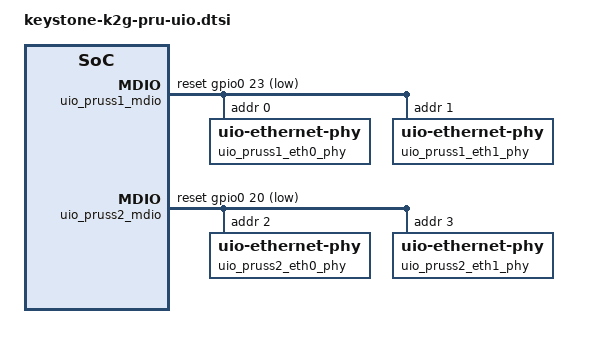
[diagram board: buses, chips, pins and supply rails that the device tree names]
&pruss_soc_bus0 {
		uio_pruss1_mdio: uio_mdio@20ab2400 {
			compatible = "ti,davinci_mdio";
			reg = <0x20ab2400 0x90>;
			clocks = <&k2g_clks 0x0014 1>;
			clock-names = "fck";
			#address-cells = <1>;
			#size-cells = <0>;
			bus_freq = <2500000>;
			status = "disabled";
		};

		uio_pruss1_mem: uio_pruss1_mem {
			compatible = "ti,uio-module-drv";
			mem = <0x20a80000 0x2000>,
			      <0x20a82000 0x2000>,
			      <0x20a90000 0x10000>,
			      <0x20aa0000 0x2000>,
			      <0x20aa6000 0x2000>,
			      <0x20aae000 0x31c>,
			      <0x20ab2000 0x70>;
			mem-names = "dram0", "dram1", "shrdram2", "intc", "cfg",
				    "iep", "mii_rt";
			status = "okay";
		};
		uio_pruss1_mem2: uio_pruss1_mem2 {
			compatible = "ti,uio-module-drv";
			mem = <0x20aa8000 0x38>,
			      <0x20ab0000 0x60>,
			      <0x20ab2400 0x90>,
			      <0x0c080000 0xe000>;
			mem-names = "uart", "ecap", "mdio", "ocmc";
			status = "okay";
		};
		uio_pruss1_evt0: uio_pruss1_evt0 {
			compatible = "ti,uio-module-drv";
			interrupts = <GIC_SPI 224 0xf01>;
			interrupt-mode = <0>;
			status = "okay";
		};
		uio_pruss1_evt1: uio_pruss1_evt1 {
			compatible = "ti,uio-module-drv";
			interrupts = <GIC_SPI 225 0xf01>;
			interrupt-mode = <0>;
			status = "okay";
		};
		uio_pruss1_evt2: uio_pruss1_evt2 {
			compatible = "ti,uio-module-drv";
			interrupts = <GIC_SPI 226 0xf01>;
			interrupt-mode = <0>;
			status = "okay";
		};
		uio_pruss1_evt3: uio_pruss1_evt3 {
			compatible = "ti,uio-module-drv";
			interrupts = <GIC_SPI 227 0xf01>;
			interrupt-mode = <0>;
			status = "okay";
		};
		uio_pruss1_evt4: uio_pruss1_evt4 {
			compatible = "ti,uio-module-drv";
			interrupts = <GIC_SPI 228 0xf01>;
			interrupt-mode = <0>;
			status = "okay";
		};
		uio_pruss1_evt6: uio_pruss1_evt6 {
			compatible = "ti,uio-module-drv";
			interrupts = <GIC_SPI 230 0xf01>;
			interrupt-mode = <0>;
			status = "okay";
		};
		uio_pruss1_evt7: uio_pruss1_evt7 {
			compatible = "ti,uio-module-drv";
			interrupts = <GIC_SPI 231 0xf01>;
			interrupt-mode = <0>;
			status = "okay";
		};

		uio_pruss1_0_mem: uio_pruss1_0_mem {
			compatible = "ti,uio-module-drv";
			mem = <0x20ab4000 0x3000>,
			      <0x20aa2000 0x400>,
			      <0x20aa2400 0x100>;
			mem-names = "iram", "control", "debug";
			status = "okay";
		};

		uio_pruss1_1_mem: uio_pruss1_1_mem {
			compatible = "ti,uio-module-drv";
			mem = <0x20ab8000 0x3000>,
			      <0x20aa4000 0x400>,
			      <0x20aa4400 0x100>;
			mem-names = "iram", "control", "debug";
			status = "okay";
		};
};

&pruss_soc_bus1 {
		uio_pruss2_mdio: uio_mdio@20af2400 {
			compatible = "ti,davinci_mdio";
		        reg = <0x20af2400 0x90>;
			clocks = <&k2g_clks 0x0015 1>;
			clock-names = "fck";
			#address-cells = <1>;
			#size-cells = <0>;
			bus_freq = <2500000>;
			status = "disabled";
		};

		uio_pruss2_mem: uio_pruss2_mem {
			compatible = "ti,uio-module-drv";
			mem = <0x20ac0000 0x2000>,
			      <0x20ac2000 0x2000>,
			      <0x20ad0000 0x10000>,
			      <0x20ae0000 0x2000>,
			      <0x20ae6000 0x2000>,
			      <0x20aee000 0x31c>,
			      <0x20af2000 0x70>;
			mem-names = "dram0", "dram1", "shrdram2", "intc", "cfg",
				    "iep", "mii_rt";
			status = "okay";
		};
		uio_pruss2_mem2: uio_pruss2_mem2 {
			compatible = "ti,uio-module-drv";
			mem = <0x20ae8000 0x38>,
			      <0x20af0000 0x60>,
			      <0x20af2400 0x90>,
			      <0x0c08e000 0xe000>;
			mem-names = "uart", "ecap", "mdio", "ocmc";
			status = "okay";
		};
		uio_pruss2_evt0: uio_pruss2_evt0 {
			compatible = "ti,uio-module-drv";
			interrupts = <GIC_SPI 232 0xf01>;
			interrupt-mode = <0>;
			status = "okay";
		};
		uio_pruss2_evt1: uio_pruss2_evt1 {
			compatible = "ti,uio-module-drv";
			interrupts = <GIC_SPI 233 0xf01>;
			interrupt-mode = <0>;
			status = "okay";
		};
		uio_pruss2_evt2: uio_pruss2_evt2 {
			compatible = "ti,uio-module-drv";
			interrupts = <GIC_SPI 234 0xf01>;
			interrupt-mode = <0>;
			status = "okay";
		};
		uio_pruss2_evt3: uio_pruss2_evt3 {
			compatible = "ti,uio-module-drv";
			interrupts = <GIC_SPI 235 0xf01>;
			interrupt-mode = <0>;
			status = "okay";
		};
		uio_pruss2_evt4: uio_pruss2_evt4 {
			compatible = "ti,uio-module-drv";
			interrupts = <GIC_SPI 236 0xf01>;
			interrupt-mode = <0>;
			status = "okay";
		};
		uio_pruss2_evt6: uio_pruss2_evt6 {
			compatible = "ti,uio-module-drv";
			interrupts = <GIC_SPI 238 0xf01>;
			interrupt-mode = <0>;
			status = "okay";
		};
		uio_pruss2_evt7: uio_pruss2_evt7 {
			compatible = "ti,uio-module-drv";
			interrupts = <GIC_SPI 239 0xf01>;
			interrupt-mode = <0>;
			status = "okay";
		};

		uio_pruss2_0_mem: uio_pruss2_0_mem {
			compatible = "ti,uio-module-drv";
			mem = <0x20af4000 0x3000>,
			      <0x20ae2000 0x400>,
			      <0x20ae2400 0x100>;
			mem-names = "iram", "control", "debug";
			status = "okay";
		};
		uio_pruss2_1_mem: uio_pruss2_1_mem {
			compatible = "ti,uio-module-drv";
			mem = <0x20af8000 0x3000>,
			      <0x20ae4000 0x400>,
			      <0x20ae4400 0x100>;
			mem-names = "iram", "control", "debug";
			status = "okay";
		};
};

&k2g_pinctrl {
	uio_pruss1_mdio_eth_default: uio_pruss1_mdio_eth_default {
		pinctrl-single,pins = <
                        K2G_CORE_IOPAD(0x12cc) (BUFFER_CLASS_B | PULL_DISABLE | MUX_MODE0)      /* pr0_mdio_data.pr0_mdio_data */
                        K2G_CORE_IOPAD(0x12d0) (BUFFER_CLASS_B | PIN_PULLDOWN | MUX_MODE0)      /* pr0_mdio_mdclk.pr0_mdio_mdclk */
                        K2G_CORE_IOPAD(0x105c) (BUFFER_CLASS_B | PULL_DISABLE | MUX_MODE3)      /* gpmc_wait1.gpio0_23 (pr0_mii0_resetn) */
                        K2G_CORE_IOPAD(0x1070) (BUFFER_CLASS_B | PIN_PULLUP | MUX_MODE3)        /* gpmc_csn2.gpio0_28 (pr0_mii0_intn) */
                        K2G_CORE_IOPAD(0x1054) (BUFFER_CLASS_B | PULL_DISABLE | MUX_MODE3)      /* gpmc_be1n.gpio0_21 (pr0_mii1_resetn) */
                        K2G_CORE_IOPAD(0x1074) (BUFFER_CLASS_B | PIN_PULLUP | MUX_MODE3)        /* gpmc_csn3.gpio0_29 (pr0_mii1_intn) */

                        /* PRUSS0 External Mux routing */
                        K2G_CORE_IOPAD(0x11d4) (BUFFER_CLASS_B | MUX_MODE3)                     /* uart0_ctsn.gpio0_106 */
                        K2G_CORE_IOPAD(0x11d8) (BUFFER_CLASS_B | MUX_MODE3)                     /* uart0_rtsn.gpio0_107 */
                        K2G_CORE_IOPAD(0x11fc) (BUFFER_CLASS_B | MUX_MODE3)                     /* dcan0_rx.gpio1_57 */
                        K2G_CORE_IOPAD(0x1200) (BUFFER_CLASS_B | MUX_MODE3)                     /* dcan0_tx.gpio1_56 */
                        K2G_CORE_IOPAD(0x1224) (BUFFER_CLASS_B | MUX_MODE3)                     /* qspi_csn2.gpio1_66 */
                        K2G_CORE_IOPAD(0x1228) (BUFFER_CLASS_B | MUX_MODE3)                     /* qspi_csn3.gpio1_67 */

                        /* PRUSS0 PRU0 Ethernet */
                        K2G_CORE_IOPAD(0x122c) (BUFFER_CLASS_B | PULL_DISABLE | MUX_MODE1)      /* pr0_pru0_gpo0.pr0_pru0_gpi0 (pr0_mii0_rxd0) */
                        K2G_CORE_IOPAD(0x1230) (BUFFER_CLASS_B | PULL_DISABLE | MUX_MODE1)      /* pr0_pru0_gpo1.pr0_pru0_gpi1 (pr0_mii0_rxd1) */
                        K2G_CORE_IOPAD(0x1234) (BUFFER_CLASS_B | PULL_DISABLE | MUX_MODE1)      /* pr0_pru0_gpo2.pr0_pru0_gpi2 (pr0_mii0_rxd2) */
                        K2G_CORE_IOPAD(0x1238) (BUFFER_CLASS_B | PULL_DISABLE | MUX_MODE1)      /* pr0_pru0_gpo3.pr0_pru0_gpi3 (pr0_mii0_rxd3) */
                        K2G_CORE_IOPAD(0x123c) (BUFFER_CLASS_B | PULL_DISABLE | MUX_MODE1)      /* pr0_pru0_gpo4.pr0_pru0_gpi4 (pr0_mii0_rxdv) */
                        K2G_CORE_IOPAD(0x1240) (BUFFER_CLASS_B | PULL_DISABLE | MUX_MODE1)      /* pr0_pru0_gpo5.pr0_pru0_gpi5 (pr0_mii0_rxer) */
                        K2G_CORE_IOPAD(0x1244) (BUFFER_CLASS_B | MUX_MODE1)                     /* pr0_pru0_gpo6.pr0_pru0_gpi6 (pr0_mii_mr0_clk) */

                        K2G_CORE_IOPAD(0x124c) (BUFFER_CLASS_B | MUX_MODE1)                     /* pr0_pru0_gpo8.pr0_pru0_gpi8 (pr0_mii0_rxlink) */
                        K2G_CORE_IOPAD(0x1250) (BUFFER_CLASS_B | PULL_DISABLE | MUX_MODE1)      /* pr0_pru0_gpo9.pr0_pru0_gpi9 (pr0_mii0_col) */
                        K2G_CORE_IOPAD(0x1254) (BUFFER_CLASS_B | PULL_DISABLE | MUX_MODE1)      /* pr0_pru0_gpo10.pr0_pru0_gpi10 (pr0_mii0_crs) */

                        K2G_CORE_IOPAD(0x12a8) (BUFFER_CLASS_B | MUX_MODE0)                     /* pr0_pru1_gpo11.pr0_pru1_gpo11 (pr0_mii0_txd0) */
                        K2G_CORE_IOPAD(0x12ac) (BUFFER_CLASS_B | MUX_MODE0)                     /* pr0_pru1_gpo12.pr0_pru1_gpo12 (pr0_mii0_txd1) */
                        K2G_CORE_IOPAD(0x12b0) (BUFFER_CLASS_B | MUX_MODE0)                     /* pr0_pru1_gpo13.pr0_pru1_gpo13 (pr0_mii0_txd2) */
                        K2G_CORE_IOPAD(0x12b4) (BUFFER_CLASS_B | MUX_MODE0)                     /* pr0_pru1_gpo14.pr0_pru1_gpo14 (pr0_mii0_txd3) */
                        K2G_CORE_IOPAD(0x12b8) (BUFFER_CLASS_B | MUX_MODE0)                     /* pr0_pru1_gpo15.pr0_pru1_gpo15 (pr0_mii0_txen) */
                        K2G_CORE_IOPAD(0x12bc) (BUFFER_CLASS_B | MUX_MODE1)                     /* pr0_pru1_gpo16.pr0_pru1_gpo16 (pr0_mii_mt0_clk) */

                        /* PRUSS0 PRU1 Ethernet */
                        K2G_CORE_IOPAD(0x127c) (BUFFER_CLASS_B | PULL_DISABLE | MUX_MODE1)      /* pr0_pru1_gpo0.pr0_pru1_gpi0 (pr0_mii1_rxd0) */
                        K2G_CORE_IOPAD(0x1280) (BUFFER_CLASS_B | PULL_DISABLE | MUX_MODE1)      /* pr0_pru1_gpo1.pr0_pru1_gpi1 (pr0_mii1_rxd1) */
                        K2G_CORE_IOPAD(0x1284) (BUFFER_CLASS_B | PULL_DISABLE | MUX_MODE1)      /* pr0_pru1_gpo2.pr0_pru1_gpi2 (pr0_mii1_rxd2) */
                        K2G_CORE_IOPAD(0x1288) (BUFFER_CLASS_B | PULL_DISABLE | MUX_MODE1)      /* pr0_pru1_gpo3.pr0_pru1_gpi3 (pr0_mii1_rxd3) */
                        K2G_CORE_IOPAD(0x128c) (BUFFER_CLASS_B | PULL_DISABLE | MUX_MODE1)      /* pr0_pru1_gpo4.pr0_pru1_gpi4 (pr0_mii1_rxdv) */
                        K2G_CORE_IOPAD(0x1290) (BUFFER_CLASS_B | PULL_DISABLE | MUX_MODE1)      /* pr0_pru1_gpo5.pr0_pru1_gpi5 (pr0_mii1_rxer) */
                        K2G_CORE_IOPAD(0x1294) (BUFFER_CLASS_B | MUX_MODE1)                     /* pr0_pru1_gpo6.pr0_pru1_gpi6 (pr0_mii_mr1_clk) */

                        K2G_CORE_IOPAD(0x129c) (BUFFER_CLASS_B | MUX_MODE1)                     /* pr0_pru1_gpo8.pr0_pru1_gpi8 (pr0_mii1_rxlink) */
                        K2G_CORE_IOPAD(0x12a0) (BUFFER_CLASS_B | PULL_DISABLE | MUX_MODE1)      /* pr0_pru1_gpo9.pr0_pru1_gpi9 (pr0_mii1_col) */
                        K2G_CORE_IOPAD(0x12a4) (BUFFER_CLASS_B | PULL_DISABLE | MUX_MODE1)      /* pr0_pru1_gpo10.pr0_pru1_gpi10 (pr0_mii1_crs) */

                        K2G_CORE_IOPAD(0x1258) (BUFFER_CLASS_B | MUX_MODE0)                     /* pr0_pru0_gpo11.pr0_pru0_gpo11 (pr0_mii1_txd0) */
                        K2G_CORE_IOPAD(0x125c) (BUFFER_CLASS_B | MUX_MODE0)                     /* pr0_pru0_gpo12.pr0_pru0_gpo12 (pr0_mii1_txd1) */
                        K2G_CORE_IOPAD(0x1260) (BUFFER_CLASS_B | MUX_MODE0)                     /* pr0_pru0_gpo13.pr0_pru0_gpo13 (pr0_mii1_txd2) */
                        K2G_CORE_IOPAD(0x1264) (BUFFER_CLASS_B | MUX_MODE0)                     /* pr0_pru0_gpo14.pr0_pru0_gpo14 (pr0_mii1_txd3) */
                        K2G_CORE_IOPAD(0x1268) (BUFFER_CLASS_B | MUX_MODE0)                     /* pr0_pru0_gpo15.pr0_pru0_gpo15 (pr0_mii1_txen) */
                        K2G_CORE_IOPAD(0x126c) (BUFFER_CLASS_B | MUX_MODE1)                     /* pr0_pru0_gpo16.pr0_pru0_gpo16 (pr0_mii_mt1_clk) */
		>;
	};

	uio_pruss2_mdio_eth_default: uio_pruss2_mdio_eth_default {
		pinctrl-single,pins = <
                        K2G_CORE_IOPAD(0x1374) (BUFFER_CLASS_B | PULL_DISABLE | MUX_MODE0)      /* pr1_mdio_data.pr1_mdio_data */
                        K2G_CORE_IOPAD(0x1378) (BUFFER_CLASS_B | PIN_PULLDOWN | MUX_MODE0)      /* pr1_mdio_mdclk.pr1_mdio_mdclk */
                        K2G_CORE_IOPAD(0x1050) (BUFFER_CLASS_B | PULL_DISABLE | MUX_MODE3)      /* gpmc_be0ncle.gpio0_20 (pr1_mii0_resetn) */
                        K2G_CORE_IOPAD(0x1044) (BUFFER_CLASS_B | PIN_PULLUP | MUX_MODE3)        /* gpmc_advnale.gpio0_17 (pr1_mii0_intn) */
                        K2G_CORE_IOPAD(0x1060) (BUFFER_CLASS_B | PULL_DISABLE | MUX_MODE3)      /* gpmc_wpn.gpio0_24 (pr1_mii1_resetn) */
                        K2G_CORE_IOPAD(0x1088) (BUFFER_CLASS_B | PIN_PULLUP | MUX_MODE3)        /* gpmc_wait0.gpio0_22 (pr1_mii1_intn) */

                        /* PRUSS1 PRU0 Ethernet */
                        K2G_CORE_IOPAD(0x12d4) (BUFFER_CLASS_B | PULL_DISABLE | MUX_MODE1)      /* pr1_pru0_gpo0.pr1_pru0_gpi0 (pr1_mii0_rxd0) */
                        K2G_CORE_IOPAD(0x12d8) (BUFFER_CLASS_B | PULL_DISABLE | MUX_MODE1)      /* pr1_pru0_gpo1.pr1_pru0_gpi1 (pr1_mii0_rxd1) */
                        K2G_CORE_IOPAD(0x12dc) (BUFFER_CLASS_B | PULL_DISABLE | MUX_MODE1)      /* pr1_pru0_gpo2.pr1_pru0_gpi2 (pr1_mii0_rxd2) */
                        K2G_CORE_IOPAD(0x12e0) (BUFFER_CLASS_B | PULL_DISABLE | MUX_MODE1)      /* pr1_pru0_gpo3.pr1_pru0_gpi3 (pr1_mii0_rxd3) */
                        K2G_CORE_IOPAD(0x12e4) (BUFFER_CLASS_B | PULL_DISABLE | MUX_MODE1)      /* pr1_pru0_gpo4.pr1_pru0_gpi4 (pr1_mii0_rxdv) */
                        K2G_CORE_IOPAD(0x12e8) (BUFFER_CLASS_B | PULL_DISABLE | MUX_MODE1)      /* pr1_pru0_gpo5.pr1_pru0_gpi5 (pr1_mii0_rxer) */
                        K2G_CORE_IOPAD(0x12ec) (BUFFER_CLASS_B | MUX_MODE1)                     /* pr1_pru0_gpo6.pr1_pru0_gpi6 (pr1_mii_mr0_clk) */

                        K2G_CORE_IOPAD(0x12f4) (BUFFER_CLASS_B | MUX_MODE1)                     /* pr1_pru0_gpo8.pr1_pru0_gpi8 (pr1_mii0_rxlink) */
                        K2G_CORE_IOPAD(0x12f8) (BUFFER_CLASS_B | PULL_DISABLE | MUX_MODE1)      /* pr1_pru0_gpo9.pr1_pru0_gpi9 (pr1_mii0_col) */
                        K2G_CORE_IOPAD(0x12fc) (BUFFER_CLASS_B | PULL_DISABLE | MUX_MODE1)      /* pr1_pru0_gpo10.pr1_pru0_gpi10 (pr1_mii0_crs) */

                        K2G_CORE_IOPAD(0x1350) (BUFFER_CLASS_B | MUX_MODE0)                     /* pr1_pru1_gpo11.pr1_pru1_gpo11 (pr1_mii0_txd0) */
                        K2G_CORE_IOPAD(0x1354) (BUFFER_CLASS_B | MUX_MODE0)                     /* pr1_pru1_gpo12.pr1_pru1_gpo12 (pr1_mii0_txd1) */
                        K2G_CORE_IOPAD(0x1358) (BUFFER_CLASS_B | MUX_MODE0)                     /* pr1_pru1_gpo13.pr1_pru1_gpo13 (pr1_mii0_txd2) */
                        K2G_CORE_IOPAD(0x135c) (BUFFER_CLASS_B | MUX_MODE0)                     /* pr1_pru1_gpo14.pr1_pru1_gpo14 (pr1_mii0_txd3) */
                        K2G_CORE_IOPAD(0x1360) (BUFFER_CLASS_B | MUX_MODE0)                     /* pr1_pru1_gpo15.pr1_pru1_gpo15 (pr1_mii0_txen) */
                        K2G_CORE_IOPAD(0x1364) (BUFFER_CLASS_B | MUX_MODE1)                     /* pr1_pru1_gpo16.pr1_pru1_gpo16 (pr1_mii_mt0_clk) */

                        /* PRUSS1 PRU1 Ethernet */
                        K2G_CORE_IOPAD(0x1324) (BUFFER_CLASS_B | PULL_DISABLE | MUX_MODE1)      /* pr1_pru1_gpo0.pr1_pru1_gpi0 (pr1_mii1_rxd0) */
                        K2G_CORE_IOPAD(0x132c) (BUFFER_CLASS_B | PULL_DISABLE | MUX_MODE1)      /* pr1_pru1_gpo2.pr1_pru1_gpi2 (pr1_mii1_rxd2) */
                        K2G_CORE_IOPAD(0x1330) (BUFFER_CLASS_B | PULL_DISABLE | MUX_MODE1)      /* pr1_pru1_gpo3.pr1_pru1_gpi3 (pr1_mii1_rxd3) */
                        K2G_CORE_IOPAD(0x1334) (BUFFER_CLASS_B | PULL_DISABLE | MUX_MODE1)      /* pr1_pru1_gpo4.pr1_pru1_gpi4 (pr1_mii1_rxdv) */
                        K2G_CORE_IOPAD(0x1338) (BUFFER_CLASS_B | PULL_DISABLE | MUX_MODE1)      /* pr1_pru1_gpo5.pr1_pru1_gpi5 (pr1_mii1_rxer) */
                        K2G_CORE_IOPAD(0x133c) (BUFFER_CLASS_B | MUX_MODE1)                     /* pr1_pru1_gpo6.pr1_pru1_gpi6 (pr1_mii_mr1_clk) */

                        K2G_CORE_IOPAD(0x1344) (BUFFER_CLASS_B | MUX_MODE1)                     /* pr1_pru1_gpo8.pr1_pru1_gpi8 (pr1_mii1_rxlink) */
                        K2G_CORE_IOPAD(0x1348) (BUFFER_CLASS_B | PULL_DISABLE | MUX_MODE1)      /* pr1_pru1_gpo9.pr1_pru1_gpi9 (pr1_mii1_col) */
                        K2G_CORE_IOPAD(0x134c) (BUFFER_CLASS_B | PULL_DISABLE | MUX_MODE1)      /* pr1_pru1_gpo10.pr1_pru1_gpi10 (pr1_mii1_crs) */

                        K2G_CORE_IOPAD(0x1300) (BUFFER_CLASS_B | MUX_MODE0)                     /* pr1_pru0_gpo11.pr1_pru0_gpo11 (pr1_mii1_txd0) */
                        K2G_CORE_IOPAD(0x1304) (BUFFER_CLASS_B | MUX_MODE0)                     /* pr1_pru0_gpo12.pr1_pru0_gpo12 (pr1_mii1_txd1) */
                        K2G_CORE_IOPAD(0x1308) (BUFFER_CLASS_B | MUX_MODE0)                     /* pr1_pru0_gpo13.pr1_pru0_gpo13 (pr1_mii1_txd2) */
                        K2G_CORE_IOPAD(0x130c) (BUFFER_CLASS_B | MUX_MODE0)                     /* pr1_pru0_gpo14.pr1_pru0_gpo14 (pr1_mii1_txd3) */
                        K2G_CORE_IOPAD(0x1310) (BUFFER_CLASS_B | MUX_MODE0)                     /* pr1_pru0_gpo15.pr1_pru0_gpo15 (pr1_mii1_txen) */
                        K2G_CORE_IOPAD(0x1314) (BUFFER_CLASS_B | MUX_MODE1)                     /* pr1_pru0_gpo16.pr1_pru0_gpo16 (pr1_mii_mt1_clk) */
		>;
	};
};

&uio_pruss1_mdio {
        status = "okay";
        pinctrl-0 = <&uio_pruss1_mdio_eth_default>;
        pinctrl-names = "default";
        reset-gpios = <&gpio0 23 GPIO_ACTIVE_LOW>,
                      <&gpio0 21 GPIO_ACTIVE_LOW>;
        reset-delay-us = <20>;

        uio_pruss1_eth0_phy: uio-ethernet-phy@0 {
                reg = <0>;
        };

        uio_pruss1_eth1_phy: uio-ethernet-phy@1 {
                reg = <1>;
        };
};

&uio_pruss2_mdio {
        status = "okay";
        pinctrl-0 = <&uio_pruss2_mdio_eth_default>;
        pinctrl-names = "default";
        reset-gpios = <&gpio0 20 GPIO_ACTIVE_LOW>,
                      <&gpio0 24 GPIO_ACTIVE_LOW>;
        reset-delay-us = <20>;

        uio_pruss2_eth0_phy: uio-ethernet-phy@2 {
                reg = <2>;
        };

        uio_pruss2_eth1_phy: uio-ethernet-phy@3 {
                reg = <3>;
        };
};

&pruss0 {
	status = "disabled";
};

&pru0_0 {
	status = "disabled";
};

&pru0_1 {
	status = "disabled";
};

&pruss0_intc {
	status = "disabled";
};

&pruss0_mdio {
	status = "disabled";
};

&pruss1 {
	status = "disabled";
};

&pru1_0 {
	status = "disabled";
};

&pru1_1 {
	status = "disabled";
};

&pruss1_intc {
	status = "disabled";
};

&pruss1_mdio {
	status = "disabled";
};

&pruss0_emac0 {
	status = "disabled";
};

&pruss0_emac1 {
	status = "disabled";
};

&pruss1_emac0 {
	status = "disabled";
};

&pruss1_emac1 {
	status = "disabled";
};
